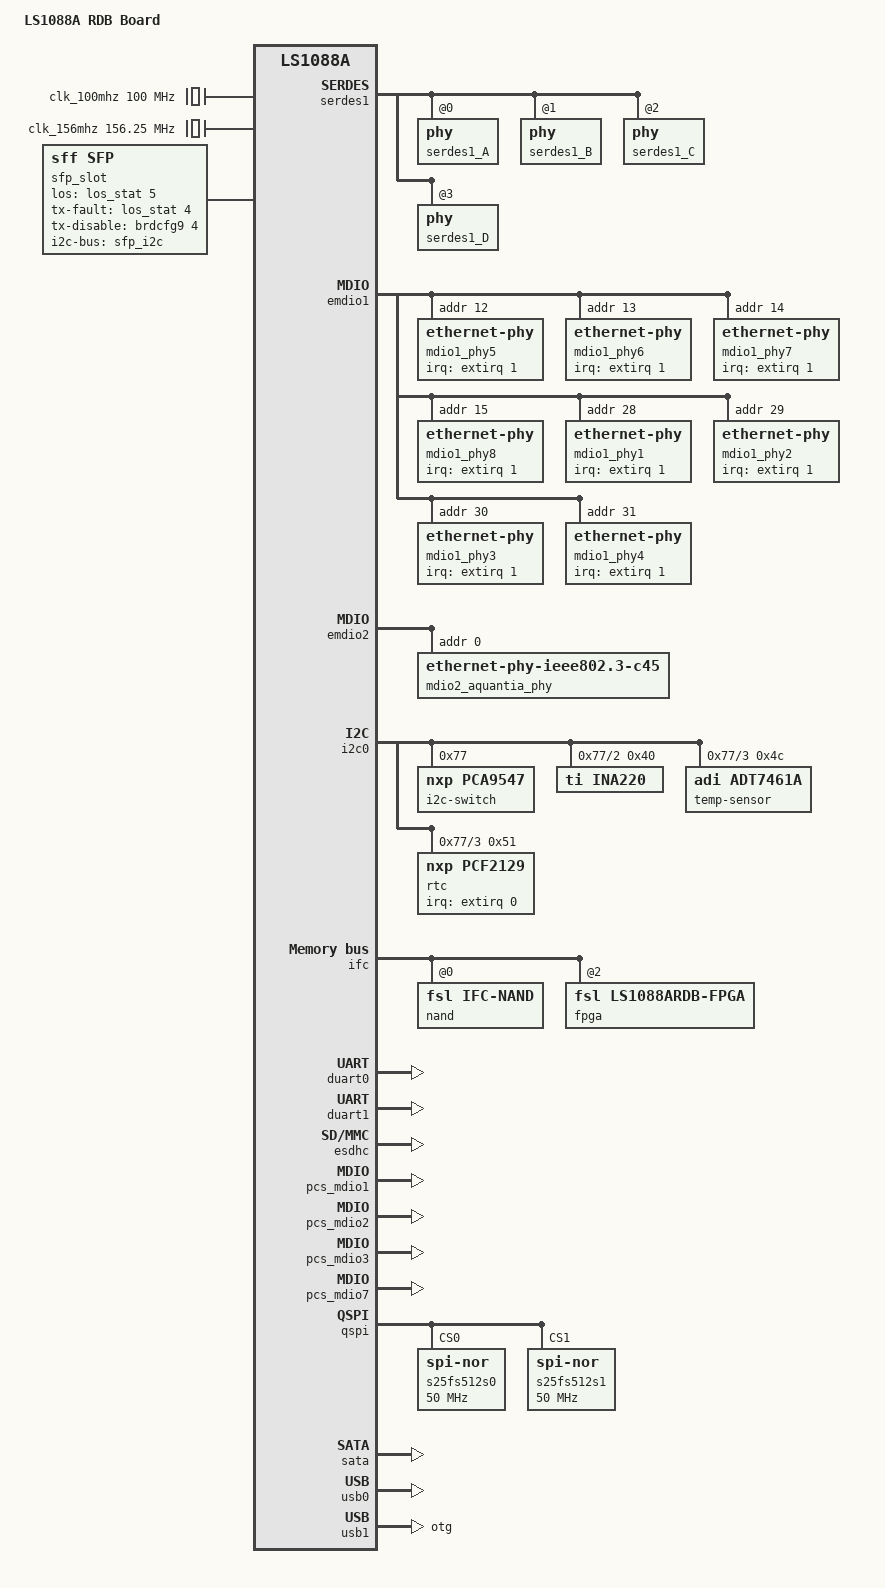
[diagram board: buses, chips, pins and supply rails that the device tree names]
// SPDX-License-Identifier: (GPL-2.0+ OR MIT)
/*
 * Device Tree file for NXP LS1088A RDB Board.
 *
 * Copyright 2017-2020 NXP
 *
 * Harninder Rai <harninder.rai@nxp.com>
 *
 */

/dts-v1/;

#include <dt-bindings/gpio/gpio.h>
#include <dt-bindings/phy/phy.h>

#include "fsl-ls1088a.dtsi"

/ {
	model = "LS1088A RDB Board";
	compatible = "fsl,ls1088a-rdb", "fsl,ls1088a";

	clocks {
		clk_100mhz: clock-100mhz {
			compatible = "fixed-clock";
			#clock-cells = <0>;
			clock-frequency = <100000000>;
		};

		clk_156mhz: clock-156mhz {
			compatible = "fixed-clock";
			#clock-cells = <0>;
			clock-frequency = <156250000>;
		};
	};

	sfp_slot: sfp {
		compatible = "sff,sfp";
		i2c-bus = <&sfp_i2c>;
		los-gpios = <&los_stat 5 GPIO_ACTIVE_HIGH>;
		tx-fault-gpios = <&los_stat 4 GPIO_ACTIVE_HIGH>;
		tx-disable-gpios = <&brdcfg9 4 GPIO_ACTIVE_HIGH>;
	};
};

&serdes1 {
	clocks = <&clk_100mhz>, <&clk_156mhz>;
	clock-names = "ref0", "ref1";
	fsl,unused-lanes-reserved;
	status = "okay";

	/*
	 * XXX: Lane A uses pins SD1_RX3_P/N! That is, the lane numbers and pin
	 * numbers are _reversed_.
	 */
	serdes1_A: phy@0 {
		#phy-cells = <0>;
		reg = <0>;

		/* QSGb */
		qsgmii-0 {
			fsl,pccr = <0x9>;
			fsl,index = <0>;
			fsl,cfg = <0x1>;
			fsl,type = <PHY_TYPE_QSGMII>;
		};
	};

	serdes1_B: phy@1 {
		#phy-cells = <0>;
		reg = <1>;

		/* QSGa */
		qsgmii-1 {
			fsl,pccr = <0x9>;
			fsl,index = <1>;
			fsl,cfg = <0x1>;
			fsl,type = <PHY_TYPE_QSGMII>;
		};
	};

	serdes1_C: phy@2 {
		#phy-cells = <0>;
		reg = <2>;

		/* SG1 */
		sgmii-2 {
			fsl,pccr = <0x8>;
			fsl,index = <2>;
			fsl,cfg = <0x1>;
			fsl,type = <PHY_TYPE_2500BASEX>;
		};

		/*
		 * XFI1
		 * Table 23-1 and section 23.5.16.4 disagree; this reflects the
		 * table.
		 *
		 * fsl,cfg is documented as 1, but it is set to 2 by the RCW!
		 * This is the same as the LS1046A.
		 */
		xfi-0 {
			fsl,pccr = <0xb>;
			fsl,index = <0>;
			fsl,cfg = <0x2>;
			fsl,type = <PHY_TYPE_10GBASER>;
		};
	};

	serdes1_D: phy@3 {
		#phy-cells = <0>;
		reg = <3>;

		/* SG2 */
		sgmii-3 {
			fsl,pccr = <0x8>;
			fsl,index = <3>;
			fsl,cfg = <0x1>;
			fsl,type = <PHY_TYPE_2500BASEX>;
		};

		/* XFI2 */
		xfi-1 {
			fsl,pccr = <0xb>;
			fsl,index = <1>;
			fsl,cfg = <0x1>;
			fsl,type = <PHY_TYPE_10GBASER>;
		};
	};
};

&dpmac1 {
	managed = "in-band-status";
	pcs-handle = <&pcs1>;
	phys = <&serdes1_C>;
	sfp = <&sfp_slot>;
};

&dpmac2 {
	phy-handle = <&mdio2_aquantia_phy>;
	phy-connection-type = "10gbase-r";
	managed = "in-band-status";
	pcs-handle = <&pcs2>;
	phys = <&serdes1_D>;
};

&dpmac3 {
	phy-handle = <&mdio1_phy5>;
	phy-connection-type = "qsgmii";
	managed = "in-band-status";
	pcs-handle = <&pcs3_0>;
	phys = <&serdes1_A>;
};

&dpmac4 {
	phy-handle = <&mdio1_phy6>;
	phy-connection-type = "qsgmii";
	managed = "in-band-status";
	pcs-handle = <&pcs3_1>;
	phys = <&serdes1_A>;
};

&dpmac5 {
	phy-handle = <&mdio1_phy7>;
	phy-connection-type = "qsgmii";
	managed = "in-band-status";
	pcs-handle = <&pcs3_2>;
	phys = <&serdes1_A>;
};

&dpmac6 {
	phy-handle = <&mdio1_phy8>;
	phy-connection-type = "qsgmii";
	managed = "in-band-status";
	pcs-handle = <&pcs3_3>;
	phys = <&serdes1_A>;
};

&dpmac7 {
	phy-handle = <&mdio1_phy1>;
	phy-connection-type = "qsgmii";
	managed = "in-band-status";
	pcs-handle = <&pcs7_0>;
	phys = <&serdes1_B>;
};

&dpmac8 {
	phy-handle = <&mdio1_phy2>;
	phy-connection-type = "qsgmii";
	managed = "in-band-status";
	pcs-handle = <&pcs7_1>;
	phys = <&serdes1_B>;
};

&dpmac9 {
	phy-handle = <&mdio1_phy3>;
	phy-connection-type = "qsgmii";
	managed = "in-band-status";
	pcs-handle = <&pcs7_2>;
	phys = <&serdes1_B>;
};

&dpmac10 {
	phy-handle = <&mdio1_phy4>;
	phy-connection-type = "qsgmii";
	managed = "in-band-status";
	pcs-handle = <&pcs7_3>;
	phys = <&serdes1_B>;
};

&emdio1 {
	status = "okay";

	mdio1_phy5: ethernet-phy@c {
		interrupts-extended = <&extirq 1 IRQ_TYPE_LEVEL_LOW>;
		reg = <0xc>;
	};

	mdio1_phy6: ethernet-phy@d {
		interrupts-extended = <&extirq 1 IRQ_TYPE_LEVEL_LOW>;
		reg = <0xd>;
	};

	mdio1_phy7: ethernet-phy@e {
		interrupts-extended = <&extirq 1 IRQ_TYPE_LEVEL_LOW>;
		reg = <0xe>;
	};

	mdio1_phy8: ethernet-phy@f {
		interrupts-extended = <&extirq 1 IRQ_TYPE_LEVEL_LOW>;
		reg = <0xf>;
	};

	mdio1_phy1: ethernet-phy@1c {
		interrupts-extended = <&extirq 1 IRQ_TYPE_LEVEL_LOW>;
		reg = <0x1c>;
	};

	mdio1_phy2: ethernet-phy@1d {
		interrupts-extended = <&extirq 1 IRQ_TYPE_LEVEL_LOW>;
		reg = <0x1d>;
	};

	mdio1_phy3: ethernet-phy@1e {
		interrupts-extended = <&extirq 1 IRQ_TYPE_LEVEL_LOW>;
		reg = <0x1e>;
	};

	mdio1_phy4: ethernet-phy@1f {
		interrupts-extended = <&extirq 1 IRQ_TYPE_LEVEL_LOW>;
		reg = <0x1f>;
	};
};

&emdio2 {
	status = "okay";

	mdio2_aquantia_phy: ethernet-phy@0 {
		compatible = "ethernet-phy-ieee802.3-c45";
		reg = <0x0>;
	};
};

&i2c0 {
	status = "okay";

	i2c-switch@77 {
		compatible = "nxp,pca9547";
		reg = <0x77>;
		#address-cells = <1>;
		#size-cells = <0>;

		i2c@2 {
			#address-cells = <1>;
			#size-cells = <0>;
			reg = <0x2>;

			ina220@40 {
				compatible = "ti,ina220";
				reg = <0x40>;
				shunt-resistor = <1000>;
			};
		};

		i2c@3 {
			#address-cells = <1>;
			#size-cells = <0>;
			reg = <0x3>;

			temp-sensor@4c {
				compatible = "adi,adt7461a";
				reg = <0x4c>;
			};

			rtc@51 {
				compatible = "nxp,pcf2129";
				reg = <0x51>;
				/* IRQ_RTC_B -> IRQ0_B(CPLD) -> IRQ00(CPU), active low */
				interrupts-extended = <&extirq 0 IRQ_TYPE_LEVEL_LOW>;
			};
		};

		sfp_i2c: i2c@6 {
			#address-cells = <1>;
			#size-cells = <0>;
			reg = <0x6>;
		};
	};
};

&ifc {
	ranges = <0 0 0x5 0x30000000 0x00010000
		  2 0 0x5 0x20000000 0x00010000>;
	status = "okay";

	nand@0,0 {
		compatible = "fsl,ifc-nand";
		reg = <0x0 0x0 0x10000>;
	};

	fpga: board-control@2,0 {
		#address-cells = <1>;
		#size-cells = <1>;
		compatible = "fsl,ls1088ardb-fpga", "fsl,fpga-qixis",
			     "simple-bus";
		reg = <0x2 0x0 0x0000100>;
		ranges = <0x0 0x2 0x0 0x0000100>;

		los_stat: gpio-controller@1d {
			#gpio-cells = <2>;
			compatible = "fsl,fpga-qixis-los-stat",
				     "ni,169445-nand-gpio";
			reg = <0x1d 0x1>;
			reg-names = "dat";
			no-output;
		};

		brdcfg9: gpio-controller@59 {
			#gpio-cells = <2>;
			compatible = "fsl,fpga-qixis-brdcfg9",
				     "ni,169445-nand-gpio";
			reg = <0x59 0x1>;
			reg-names = "dat";
		};
	};
};

&duart0 {
	status = "okay";
};

&duart1 {
	status = "okay";
};

&esdhc {
	mmc-hs200-1_8v;
	status = "okay";
};

&pcs_mdio1 {
	status = "okay";
};

&pcs_mdio2 {
	status = "okay";
};

&pcs_mdio3 {
	status = "okay";
};

&pcs_mdio7 {
	status = "okay";
};

&qspi {
	status = "okay";

	s25fs512s0: flash@0 {
		compatible = "jedec,spi-nor";
		#address-cells = <1>;
		#size-cells = <1>;
		spi-max-frequency = <50000000>;
		spi-rx-bus-width = <4>;
		spi-tx-bus-width = <1>;
		reg = <0>;
	};

	s25fs512s1: flash@1 {
		compatible = "jedec,spi-nor";
		#address-cells = <1>;
		#size-cells = <1>;
		spi-max-frequency = <50000000>;
		spi-rx-bus-width = <4>;
		spi-tx-bus-width = <1>;
		reg = <1>;
	};
};

&sata {
	status = "okay";
};

&usb0 {
	status = "okay";
};

&usb1 {
	dr_mode = "otg";
	status = "okay";
};
